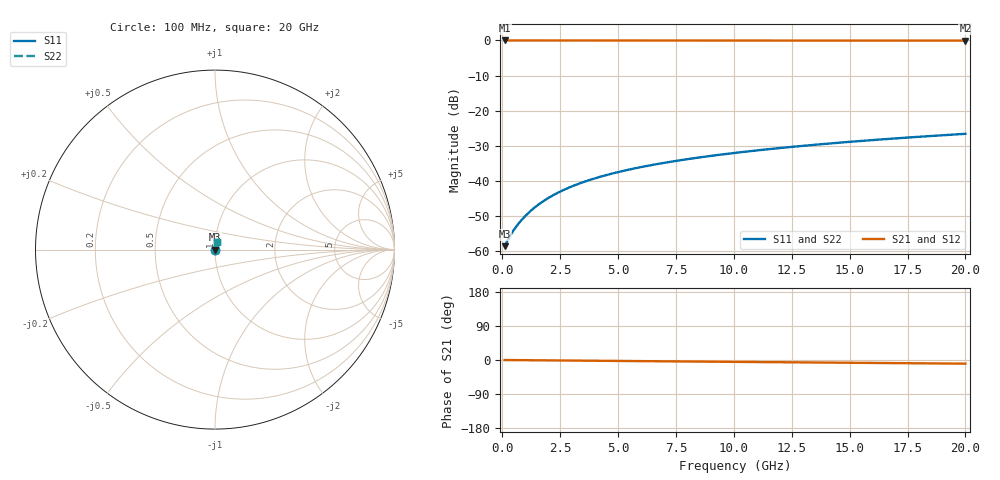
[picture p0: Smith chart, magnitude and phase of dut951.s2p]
! Touchstone file exported from HFSS 2026.1.0
!  File:  C:/ffzhzh/LocalFiles/Ansys_Project_Files/temp_train_BSMRDL_951_1783172267_55132.aedt
!  Generated:  09:38:55 PM Jul  4, 2026
!  Design:  BSMRDL
!  Project:  temp_train_BSMRDL_951_1783172267_55132
! Variables:
!  h_bsmrdl = 5.35um
!  h_ox = 20um
!  h_rdl = 5um
!  h_sub = 80um
!  h_tmrdl = 5um
!  h_tsv = 80um
!  h_via = 3um
!  l_bsmrdl = 162.03um
!  l_sub = 562.03um
!  l_tmrdl = 200um
!  m_sub = 200um
!  pitch = 17.76um
!  r_tsv = 6um
!  s_tmrdl = 10um
!  w_bsmrdl = 10.6um
!  w_sub = 500um
!  w_tmrdl = 12um
!  x_tsv_center1 = 206um
!  x_tsv_center2 = 378.63um
!  x_tsv_center3 = 590.63um
!  x_tsv_center4 = 763.26um
!  x_tsv_center5 = 975.26um
!  x_tsv_center6 = 1147.89um
# GHz S MA R 50.000000
! Terminal data exported
! Port[1] = BSM_RDL1_1_T1
! Port[2] = BSM_RDL1_1_T2
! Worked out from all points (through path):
!   200 points, 100 MHz to 20 GHz, reference 50 ohm
!   highest |S21| = -0.01 dB at 100 MHz (marker M1); lowest = -0.1 dB at 20 GHz (marker M2)
!   group delay of S21, straight-line fit = 1.33 ps
!   lowest |S11| = -58.6 dB at 100 MHz (marker M3), VSWR 1.00, Z = 50.1 + j0.0353 ohm
!   |S11| at or under -10 dB: start of sweep to end of sweep
!   |S22| runs from -58.6 to -26.6 dB; largest |S21 - S12| = 6.1e-15
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0.1  0.001174 17.4  0.9989 -0.1  0.9989 -0.1  0.001174 17.4
! Gamma 0 0 0 0
! Port Impedance 50 0 50 0
0.3  0.001566 38.3  0.9988 -0.2  0.9988 -0.2  0.001566 38.3
0.4  0.001784 44.2  0.9987 -0.2  0.9987 -0.2  0.001784 44.2
0.5  0.002005 48.9  0.9987 -0.3  0.9987 -0.3  0.002005 48.9
0.7  0.002459 55.9  0.9986 -0.4  0.9986 -0.4  0.002459 55.9
1  0.003177 62.9  0.9986 -0.5  0.9986 -0.5  0.003177 62.9
1.2  0.003675 66.0  0.9985 -0.6  0.9985 -0.6  0.003675 66.0
1.4  0.004182 68.3  0.9985 -0.7  0.9985 -0.7  0.004182 68.3
1.8  0.005214 71.5  0.9984 -0.9  0.9984 -0.9  0.005214 71.5
2.3  0.006513 73.8  0.9983 -1.2  0.9983 -1.2  0.006513 73.8
2.9  0.008067 75.3  0.9981 -1.5  0.9981 -1.5  0.008067 75.3
3.5  0.009601 76.1  0.9979 -1.8  0.9979 -1.8  0.009601 76.1
4.2  0.01136 76.5  0.9977 -2.1  0.9977 -2.1  0.01136 76.5
5  0.01333 76.7  0.9974 -2.5  0.9974 -2.5  0.01333 76.7
5.9  0.01549 76.8  0.9971 -2.9  0.9971 -2.9  0.01549 76.8
6.8  0.01761 76.7  0.9968 -3.4  0.9968 -3.4  0.01761 76.7
8.3  0.02107 76.5  0.9963 -4.1  0.9963 -4.1  0.02107 76.5
10.1  0.02513 76.2  0.9958 -5.0  0.9958 -5.0  0.02513 76.2
11.7  0.02869 75.8  0.9954 -5.7  0.9954 -5.7  0.02869 75.8
13.4  0.03244 75.4  0.9949 -6.5  0.9949 -6.5  0.03244 75.4
16.7  0.03963 74.5  0.9941 -8.1  0.9941 -8.1  0.03963 74.5
20  0.04674 73.4  0.9933 -9.7  0.9933 -9.7  0.04674 73.4
